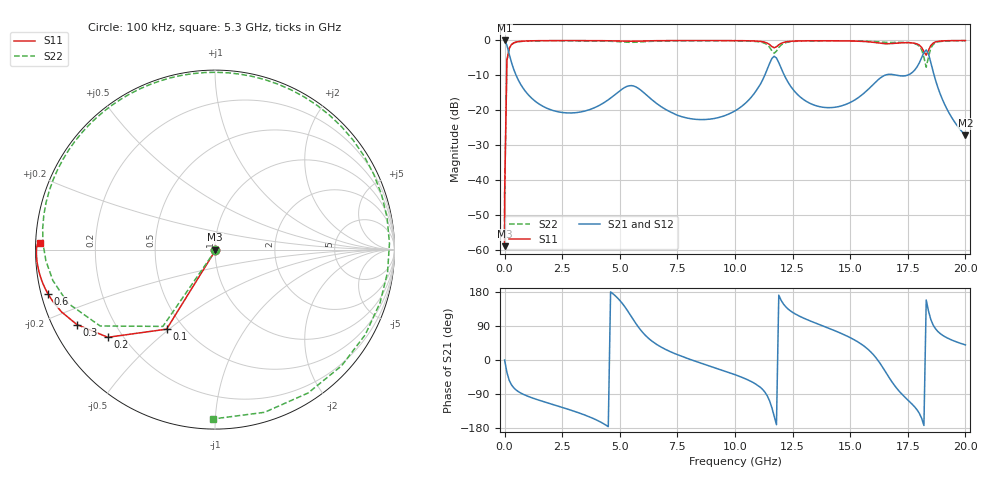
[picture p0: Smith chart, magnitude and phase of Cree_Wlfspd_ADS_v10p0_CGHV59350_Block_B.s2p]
! AWR Design Environment (6954) Tue Jul 07 12:52:29 2015
! Simulator: Linear circuit simulator
! Ports: 2, Freqs: 203
# GHz S MA R 50
!Freq  MagS11  AngS11  MagS21  AngS21  MagS12  AngS12  MagS22  AngS22
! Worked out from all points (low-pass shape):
!   202 points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, 100 kHz to 20 GHz, reference 50 ohm
!   highest |S21| = -0.01 dB at 100 kHz (marker M1); lowest = -27.2 dB at 20 GHz (marker M2)
!   |S21| within 3 dB of the highest: start of sweep to 163.5 MHz; 18.26186 GHz to 18.3239 GHz (62.04 MHz wide, 0.339 % of centre)
!   lowest |S11| = -59.0 dB at 100 kHz (marker M3), VSWR 1.00, Z = 50.1 - j0.0566 ohm
!   |S11| at or under -10 dB: start of sweep to 88.95 MHz
!   |S22| runs from -59.0 to -0.1 dB; largest |S21 - S12| = 0
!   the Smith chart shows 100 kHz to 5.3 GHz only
!   S11 on the Smith chart (normalised r, x): 100 kHz: 1.00, -0.00; 100 MHz: 0.40, -0.49; 200 MHz: 0.15, -0.35; 300 MHz: 0.07, -0.25; 600 MHz: 0.02, -0.13; 5.3 GHz: 0.01, +0.02
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0.0001  0.001124 -30.2  0.999 -0.0  0.999 -0.0  0.001124 -30.1
0.1  0.5189 -121.3  0.8534 -32.8  0.8534 -32.8  0.5172 -124.2
0.2  0.7712 -140.7  0.6349 -53.6  0.6349 -53.6  0.7685 -146.4
0.3  0.8753 -151.5  0.4816 -65.7  0.4816 -65.7  0.8721 -160.0
0.6  0.9626 -165.1  0.2685 -83.6  0.2685 -83.6  0.9585 178.0
3.4  0.9948 -179.9  0.0957 -143.4  0.0957 -143.4  0.9868 73.4
4.7  0.9866 178.1  0.158 174.9  0.158 174.9  0.9696 -7.4
5.3  0.9747 177.7  0.2187 133.3  0.2187 133.3  0.9434 -90.5
5.8  0.9774 178.0  0.2062 87.5  0.2062 87.5  0.9473 176.5
6.7  0.9922 176.9  0.118 37.4  0.118 37.4  0.9788 77.3
8.2  0.9964 174.3  0.07448 -1.6  0.07448 -1.6  0.9893 2.5
10.1  0.9933 169.8  0.1025 -41.0  0.1025 -41.0  0.9864 -70.7
11.4  0.9144 161.6  0.3856 -94.5  0.3856 -94.5  0.8658 -166.0
11.7  0.7848 166.8  0.5936 -148.1  0.5936 -148.1  0.6549 77.2
12.2  0.952 170.5  0.2894 140.6  0.2894 140.6  0.9286 -72.4
13.4  0.9894 160.1  0.1196 99.7  0.1196 99.7  0.9854 -141.1
15.9  0.9482 89.0  0.2169 20.9  0.2169 20.9  0.9685 134.5
16.7  0.898 -24.7  0.3271 -47.3  0.3271 -47.3  0.9353 110.4
17.8  0.9095 -126.9  0.3761 -123.8  0.3761 -123.8  0.8993 62.3
18.3  0.6143 -130.7  0.7306 158.3  0.7306 158.3  0.4127 -93.1
18.7  0.9504 -131.6  0.2721 82.7  0.2721 82.7  0.9245 110.5
20  0.9973 -152.1  0.04345 39.8  0.04345 39.8  0.992 50.4
